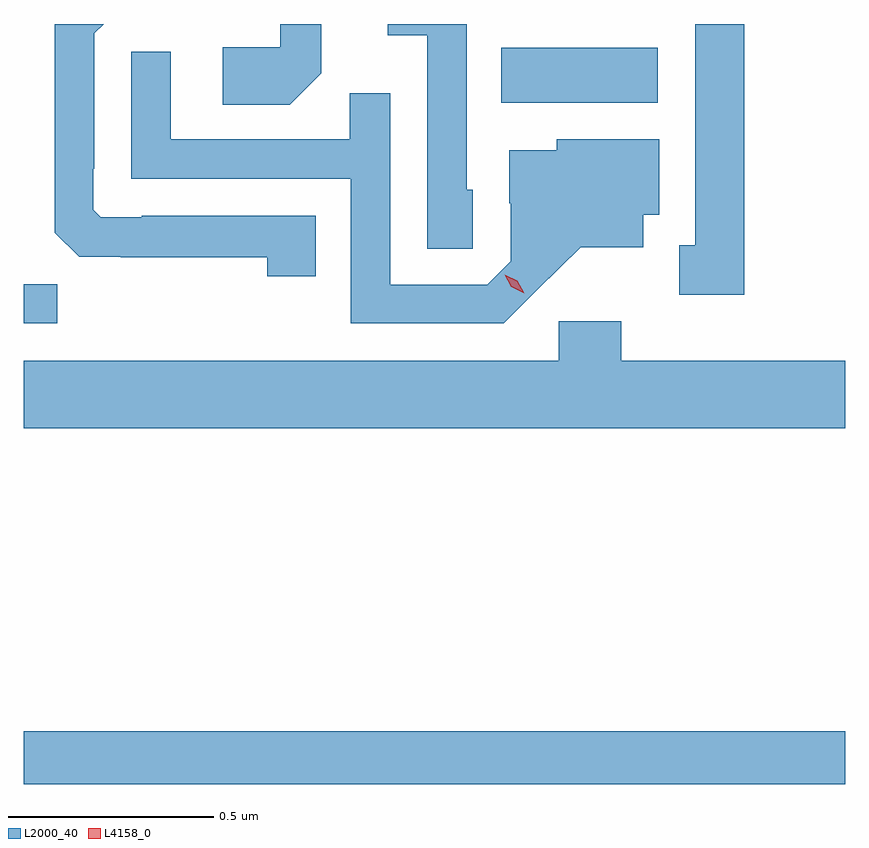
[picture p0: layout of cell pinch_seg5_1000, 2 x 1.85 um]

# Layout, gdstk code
import gdstk
lib = gdstk.Library(unit=1e-6, precision=1e-09)
def R(c, l, rs):  # rectangles x0, y0, x1, y1
    for r in rs: c.add(gdstk.rectangle(r[:2], r[2:], *l))
def P(c, l, *ps):  # polygons
    for p in ps: c.add(gdstk.Polygon(p, *l))
L2000_40 = (2000, 40)
L4158_0 = (4158, 0)

pinch_seg5_1000 = lib.new_cell('pinch_seg5_1000')
R(pinch_seg5_1000, L2000_40, [(743.597,907.842,745.597,907.97), (743.597,908.964,743.679,909.059), (744.76,909.5,745.141,909.634)])
P(pinch_seg5_1000, L2000_40, [(744.69,909.288),(744.675,909.288),(744.675,909.692),(744.483,909.692),(744.483,909.665),(744.579,909.665),(744.579,909.145),(744.69,909.145)],
  [(744.321,909.572),(744.321,909.692),(744.222,909.692),(744.222,909.636),(744.081,909.636),(744.081,909.496),(744.245,909.496)],
  [(745.351,909.692),(745.232,909.692),(745.232,909.153),(745.193,909.153),(745.193,909.033),(745.351,909.033)],
  [(744.308,909.225),(743.884,909.225),(743.884,909.222),(743.784,909.222),(743.766,909.24),(743.766,909.34),(743.769,909.34),(743.769,909.669),(743.792,909.692),(743.673,909.692),(743.673,909.184),(743.732,909.125),(743.833,909.125),(743.833,909.124),(744.19,909.124),(744.19,909.078),(744.308,909.078)],
  [(744.85,909.047),(744.953,909.149),(745.105,909.149),(745.105,909.228),(745.144,909.228),(745.144,909.412),(744.894,909.412),(744.894,909.385),(744.779,909.385),(744.779,909.256),(744.783,909.256),(744.783,909.114),(744.726,909.057),(744.489,909.057),(744.489,909.524),(744.391,909.524),(744.391,909.411),(743.955,909.411),(743.955,909.625),(743.859,909.625),(743.859,909.315),(744.393,909.315),(744.393,908.964),(744.766,908.964)],
  [(745.597,908.872),(745.052,908.872),(745.052,908.968),(744.9,908.968),(744.9,908.872),(743.597,908.872),(743.597,908.708),(745.597,908.708)])
P(pinch_seg5_1000, L4158_0, [(744.815,909.036),(744.784,909.052),(744.768,909.082),(744.768,909.082),(744.768,909.082),(744.798,909.067),(744.815,909.037),(744.815,909.036)])

lib.write_gds('pinch_seg5_1000.gds')
